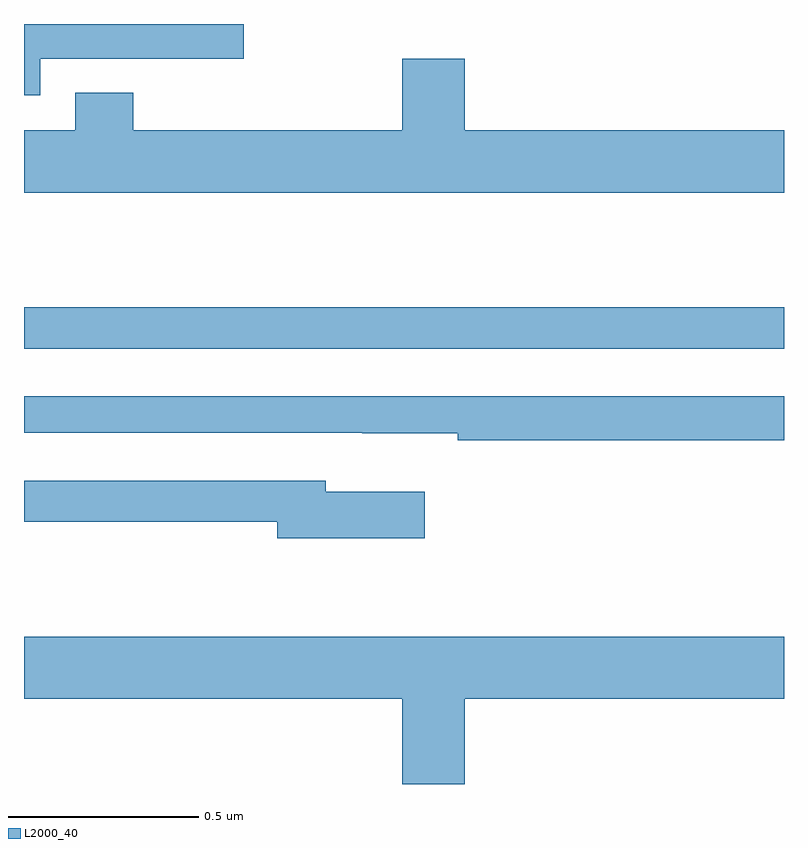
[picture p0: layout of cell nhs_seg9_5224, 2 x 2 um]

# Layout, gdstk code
import gdstk
lib = gdstk.Library(unit=1e-6, precision=1e-09)
def R(c, l, rs):  # rectangles x0, y0, x1, y1
    for r in rs: c.add(gdstk.rectangle(r[:2], r[2:], *l))
def P(c, l, *ps):  # polygons
    for p in ps: c.add(gdstk.Polygon(p, *l))
L2000_40 = (2000, 40)

nhs_seg9_5224 = lib.new_cell('nhs_seg9_5224')
R(nhs_seg9_5224, L2000_40, [(176,1226.646,178,1226.755)])
P(nhs_seg9_5224, L2000_40, [(176.043,1227.408),(176.578,1227.408),(176.578,1227.5),(176,1227.5),(176,1227.312),(176.043,1227.312)],
  [(178,1227.22),(177.16,1227.22),(177.16,1227.409),(176.996,1227.409),(176.996,1227.22),(176.288,1227.22),(176.288,1227.319),(176.135,1227.319),(176.135,1227.22),(176,1227.22),(176,1227.056),(178,1227.056)],
  [(178,1226.52),(176,1226.52),(176,1226.424),(176.89,1226.424),(176.89,1226.423),(177.142,1226.423),(177.142,1226.404),(178,1226.404)],
  [(177.055,1226.269),(176.794,1226.269),(176.794,1226.298),(176,1226.298),(176,1226.19),(176.666,1226.19),(176.666,1226.147),(177.055,1226.147)],
  [(177.16,1225.724),(178,1225.724),(178,1225.888),(176,1225.888),(176,1225.724),(176.996,1225.724),(176.996,1225.5),(177.16,1225.5)])

lib.write_gds('nhs_seg9_5224.gds')
